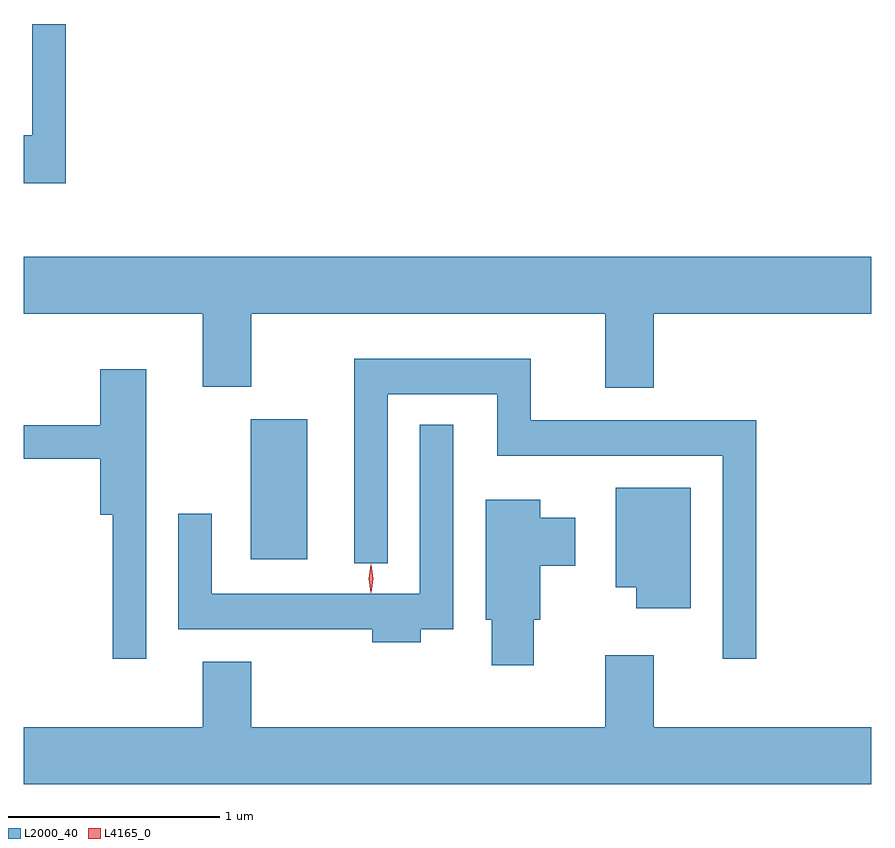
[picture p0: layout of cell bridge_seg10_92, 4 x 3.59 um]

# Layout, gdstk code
import gdstk
lib = gdstk.Library(unit=1e-6, precision=1e-09)
def R(c, l, rs):  # rectangles x0, y0, x1, y1
    for r in rs: c.add(gdstk.rectangle(r[:2], r[2:], *l))
def P(c, l, *ps):  # polygons
    for p in ps: c.add(gdstk.Polygon(p, *l))
L2000_40 = (2000, 40)
L4165_0 = (4165, 0)

bridge_seg10_92 = lib.new_cell('bridge_seg10_92')
R(bridge_seg10_92, L2000_40, [(1579.456,2183.796,1579.724,2184.459)])
P(bridge_seg10_92, L2000_40, [(1578.584,2186.324),(1578.426,2186.324),(1578.426,2185.799),(1578.386,2185.799),(1578.386,2185.571),(1578.584,2185.571)],
  [(1581.359,2184.956),(1582.386,2184.956),(1582.386,2185.224),(1578.386,2185.224),(1578.386,2184.956),(1579.231,2184.956),(1579.231,2184.611),(1579.459,2184.611),(1579.459,2184.956),(1581.131,2184.956),(1581.131,2184.606),(1581.359,2184.606)],
  [(1581.844,2184.454),(1580.779,2184.454),(1580.779,2184.744),(1579.946,2184.744),(1579.946,2183.778),(1580.104,2183.778),(1580.104,2184.576),(1580.621,2184.576),(1580.621,2184.286),(1581.686,2184.286),(1581.686,2183.328),(1581.844,2183.328)],
  [(1578.964,2184.694),(1578.746,2184.694),(1578.746,2184.429),(1578.386,2184.429),(1578.386,2184.271),(1578.746,2184.271),(1578.746,2184.006),(1578.806,2184.006),(1578.806,2183.328),(1578.964,2183.328)],
  [(1580.259,2183.466),(1580.414,2183.466),(1580.414,2184.433),(1580.256,2184.433),(1580.256,2183.634),(1579.274,2183.634),(1579.274,2184.013),(1579.116,2184.013),(1579.116,2183.466),(1580.031,2183.466),(1580.031,2183.406),(1580.259,2183.406)],
  [(1581.534,2184.134),(1581.181,2184.134),(1581.181,2183.666),(1581.276,2183.666),(1581.276,2183.566),(1581.534,2183.566)],
  [(1580.794,2183.511),(1580.824,2183.511),(1580.824,2183.766),(1580.989,2183.766),(1580.989,2183.994),(1580.824,2183.994),(1580.824,2184.079),(1580.566,2184.079),(1580.566,2183.511),(1580.596,2183.511),(1580.596,2183.296),(1580.794,2183.296)],
  [(1582.386,2183.004),(1581.359,2183.004),(1581.359,2183.344),(1581.131,2183.344),(1581.131,2183.004),(1579.459,2183.004),(1579.459,2183.314),(1579.231,2183.314),(1579.231,2183.004),(1578.386,2183.004),(1578.386,2182.736),(1582.386,2182.736)])
P(bridge_seg10_92, L4165_0, [(1580.025,2183.639),(1580.024,2183.64),(1580.015,2183.706),(1580.024,2183.772),(1580.025,2183.773),(1580.025,2183.772),(1580.035,2183.706),(1580.025,2183.64)])

lib.write_gds('bridge_seg10_92.gds')
